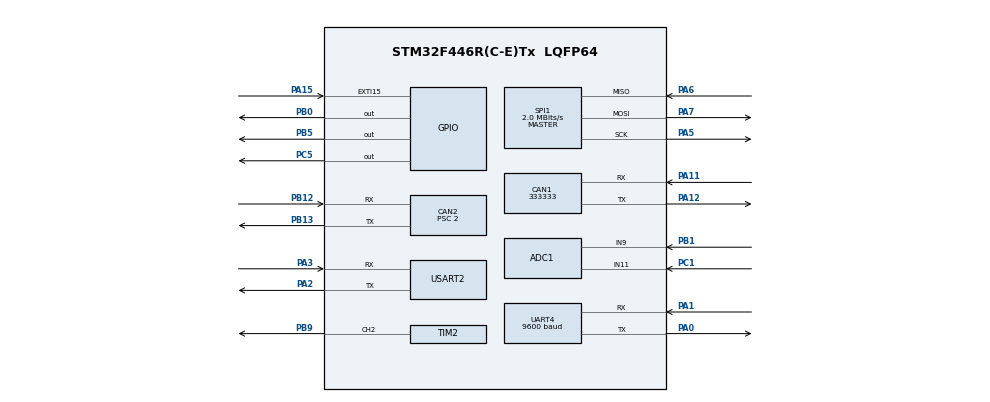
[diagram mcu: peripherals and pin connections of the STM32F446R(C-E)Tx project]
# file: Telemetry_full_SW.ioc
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Mcu.Family=STM32F4
Dma.SPI1_TX.1.Priority=DMA_PRIORITY_LOW
PA6.Mode=Full_Duplex_Master
RCC.CortexFreq_Value=16000000
FATFS._USE_LFN=1
NVIC.CAN2_RX0_IRQn=true\:0\:0\:false\:false\:true\:true\:true
SPI1.VirtualType=VM_MASTER
ADC1.ContinuousConvMode=ENABLE
Dma.SPI1_TX.1.FIFOMode=DMA_FIFOMODE_DISABLE
CAN2.CalculateTimeBit=2000.00
NVIC.DMA1_Stream2_IRQn=true\:0\:0\:false\:false\:true\:false\:true
Dma.SPI1_TX.1.PeriphInc=DMA_PINC_DISABLE
PA11.Mode=CAN_Activate
PA11.GPIO_PuPd=GPIO_PULLUP
TIM2.Channel-PWM\ Generation2\ CH2=TIM_CHANNEL_2
Dma.ADC1.3.PeriphDataAlignment=DMA_PDATAALIGN_WORD
PB13.Signal=CAN2_TX
ProjectManager.StackSize=0x400
Dma.ADC1.3.MemInc=DMA_MINC_ENABLE
PA12.Signal=CAN1_TX
SPI1.CLKPolarity=SPI_POLARITY_HIGH
Dma.SPI1_RX.0.Direction=DMA_PERIPH_TO_MEMORY
SPI1.Direction=SPI_DIRECTION_2LINES
UART4.BaudRate=9600
Dma.ADC1.3.PeriphInc=DMA_PINC_DISABLE
Dma.UART4_RX.2.MemDataAlignment=DMA_MDATAALIGN_BYTE
SPI1.CalculateBaudRate=2.0 MBits/s
NVIC.DMA2_Stream0_IRQn=true\:0\:0\:false\:false\:true\:false\:true
NVIC.EXTI15_10_IRQn=true\:0\:0\:false\:false\:true\:true\:true
Dma.SPI1_TX.1.PeriphDataAlignment=DMA_PDATAALIGN_BYTE
ADC1.Channel-0\#ChannelRegularConversion=ADC_CHANNEL_9
ADC1.ScanConvMode=ENABLE
PB3.Mode=Trace_Asynchronous_SW
Dma.ADC1.3.Instance=DMA2_Stream4
Dma.SPI1_RX.0.PeriphInc=DMA_PINC_DISABLE
Dma.SPI1_TX.1.Mode=DMA_NORMAL
PA14.Mode=Trace_Asynchronous_SW
Dma.ADC1.3.Mode=DMA_CIRCULAR
CAN2.Prescaler=2
Dma.UART4_RX.2.Direction=DMA_PERIPH_TO_MEMORY
ADC1.SamplingTime-0\#ChannelRegularConversion=ADC_SAMPLETIME_480CYCLES
Dma.UART4_RX.2.Instance=DMA1_Stream2
PB9.Signal=S_TIM2_CH2
Mcu.Package=LQFP64
TIM2.Prescaler=900-1
PA6.Signal=SPI1_MISO
PB1.Signal=ADCx_IN9
PB12.Mode=CAN_Activate
CAN2.BS1=CAN_BS1_13TQ
CAN2.BS2=CAN_BS2_2TQ
USART2.VirtualMode=VM_ASYNC
PA15.Signal=GPXTI15
Dma.UART4_RX.2.PeriphDataAlignment=DMA_PDATAALIGN_BYTE
SH.ADCx_IN9.0=ADC1_IN9,IN9
Dma.UART4_RX.2.FIFOMode=DMA_FIFOMODE_DISABLE
Dma.Request2=UART4_RX
Dma.Request1=SPI1_TX
Dma.Request3=ADC1
PC5.Signal=GPIO_Output
PB13.Mode=CAN_Activate
PA12.GPIO_PuPd=GPIO_PULLUP
Dma.Request0=SPI1_RX
SPI1.BaudRatePrescaler=SPI_BAUDRATEPRESCALER_8
CAN1.CalculateTimeBit=3000.00
Dma.SPI1_TX.1.Instance=DMA2_Stream3
PA3.Signal=USART2_RX
CAN1.CalculateTimeQuantum=1000.0
PA5.Mode=Full_Duplex_Master
CAN2.CalculateBaudRate=500000
Dma.SPI1_TX.1.MemInc=DMA_MINC_ENABLE
ADC1.Rank-0\#ChannelRegularConversion=1
PA7.Mode=Full_Duplex_Master
CAN1.CalculateBaudRate=333333
Dma.ADC1.3.Priority=DMA_PRIORITY_LOW
Dma.UART4_RX.2.Priority=DMA_PRIORITY_LOW
SPI1.CLKPhase=SPI_PHASE_2EDGE
Dma.SPI1_RX.0.Mode=DMA_NORMAL
UART4.VirtualMode=Asynchronous
Dma.SPI1_TX.1.Direction=DMA_MEMORY_TO_PERIPH
Dma.ADC1.3.FIFOMode=DMA_FIFOMODE_DISABLE
Dma.UART4_RX.2.PeriphInc=DMA_PINC_DISABLE
Dma.UART4_RX.2.MemInc=DMA_MINC_ENABLE
PA0-WKUP.Signal=UART4_TX
PA0-WKUP.Mode=Asynchronous
Dma.SPI1_RX.0.FIFOMode=DMA_FIFOMODE_DISABLE
PA13.Signal=SYS_JTMS-SWDIO
PA3.Mode=Asynchronous
SH.S_TIM2_CH2.0=TIM2_CH2,PWM Generation2 CH2
Dma.SPI1_TX.1.MemDataAlignment=DMA_MDATAALIGN_BYTE
ProjectManager.TargetToolchain=STM32CubeIDE
ADC1.Channel-1\#ChannelRegularConversion=ADC_CHANNEL_11
RCC.USBFreq_Value=96000000
NVIC.DMA2_Stream3_IRQn=true\:0\:0\:false\:false\:true\:false\:true
PA1.Signal=UART4_RX
VP_FATFS_VS_Generic.Mode=User_defined
PA5.Signal=SPI1_SCK
Dma.ADC1.3.MemDataAlignment=DMA_MDATAALIGN_WORD
Dma.ADC1.3.Direction=DMA_PERIPH_TO_MEMORY
Dma.UART4_RX.2.Mode=DMA_CIRCULAR
board=custom
RCC.VCOOutputFreq_Value=192000000
PA1.Mode=Asynchronous
SH.ADCx_IN11.0=ADC1_IN11,IN11
SPI1.Mode=SPI_MODE_MASTER
Dma.SPI1_RX.0.Instance=DMA2_Stream0
Dma.SPI1_RX.0.PeriphDataAlignment=DMA_PDATAALIGN_BYTE
CAN2.CalculateTimeQuantum=125.0
Dma.SPI1_RX.0.MemDataAlignment=DMA_MDATAALIGN_BYTE
ADC1.DMAContinuousRequests=ENABLE
TIM2.Period=1000-1
ADC1.NbrOfConversion=2
PA13.Mode=Trace_Asynchronous_SW
Mcu.Name=STM32F446R(C-E)Tx
Dma.SPI1_RX.0.MemInc=DMA_MINC_ENABLE
NVIC.DMA2_Stream4_IRQn=true\:0\:0\:false\:false\:true\:false\:true
PA2.Signal=USART2_TX
FATFS._MAX_SS=4096
ADC1.ExternalTrigConv=ADC_SOFTWARE_START
PB3.Signal=SYS_JTDO-SWO
ADC1.SamplingTime-1\#ChannelRegularConversion=ADC_SAMPLETIME_480CYCLES
PB5.Signal=GPIO_Output
ADC1.master=1
PA12.Mode=CAN_Activate
ADC1.Rank-1\#ChannelRegularConversion=2
PA11.Signal=CAN1_RX
PA14.Signal=SYS_JTCK-SWCLK
ProjectManager.HeapSize=0x200
Dma.SPI1_RX.0.Priority=DMA_PRIORITY_LOW
NVIC.PriorityGroup=NVIC_PRIORITYGROUP_4
ADC1.NbrOfConversionFlag=1
PA2.Mode=Asynchronous
PB0.Signal=GPIO_Output
PC1.Signal=ADCx_IN11
PB12.Signal=CAN2_RX
PA7.Signal=SPI1_MOSI

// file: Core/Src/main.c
/* USER CODE BEGIN Header */
/**
  ******************************************************************************
  * @file           : main.c
  * @brief          : Main program body
  ******************************************************************************
  * @attention
  *
  * <h2><center>&copy; Copyright (c) 2021 STMicroelectronics.
  * All rights reserved.</center></h2>
  *
  * This software component is licensed by ST under BSD 3-Clause license,
  * the "License"; You may not use this file except in compliance with the
  * License. You may obtain a copy of the License at:
  *                        opensource.org/licenses/BSD-3-Clause
  *
  ******************************************************************************
  */
/* USER CODE END Header */
#include "main.h"
#include "fatfs.h"

/* USER CODE BEGIN Includes */
#include "stdio.h"
#include "stdlib.h"
#include "string.h"
#include "ICM20948.h"
#include "fatfs_sd.h"
/* USER CODE END Includes */

/* USER CODE BEGIN PD */
#define V_ADC 3.3/4096

#define GPS_Enable 1;
#define GPS_Disables 0;
#define ICM_Enable 1;
#define ICM_Disable 0;
#define POT_Enable 1;
#define POT_Disable 0;
#define Servo_Enable 1;
#define Servo_Disable 0;

//#define DRCPATTISON 1
//#define CORYCLINE 2

/* USER CODE END PD */

ADC_HandleTypeDef hadc1;
DMA_HandleTypeDef hdma_adc1;

CAN_HandleTypeDef hcan1;
CAN_HandleTypeDef hcan2;

SPI_HandleTypeDef hspi1;
DMA_HandleTypeDef hdma_spi1_rx;
DMA_HandleTypeDef hdma_spi1_tx;

TIM_HandleTypeDef htim2;

UART_HandleTypeDef huart4;
UART_HandleTypeDef huart2;
DMA_HandleTypeDef hdma_uart4_rx;

/* USER CODE BEGIN PV */
int  GPS_ready = 0;
int start_race = 0;
uint32_t GPS_BR=9600;
int time_count=0;
int time_total=0;
// SD CARD RELATED ///////////////////////////////////////////////////////////////////////////////////////////
FATFS fs;  // file system
FIL fil; // File
FILINFO fno;
FRESULT fresult;  // result
UINT br, bw;  // File read/write count

/**** capacity related *****/
FATFS *pfs;
DWORD fre_clust;
uint32_t total, free_space;

#define BUFFER_SIZE 128
char buffer[BUFFER_SIZE];  // to store strings..
//////////////////////////////////////////////////////////////////////////////////////////////////////////////

// CAN ///////////////////////////////////////////////////////////////////////////////////////////////////////
CAN_TxHeaderTypeDef pTxHeader;
uint32_t pTxMailbox;

CAN_RxHeaderTypeDef pRxHeader;
uint32_t pRxMailbox;

CAN_FilterTypeDef CAN_filter1;
//////////////////////////////////////////////////////////////////////////////////////////////////////////////

//CAN UNION

union CAN_M{
	int i[2];
	float f[2];
	uint8_t bytes[8];
} can_m;

union CAN_M tx_union;
union CAN_M rx_union;
uint8_t can_m_received=0;

#define Especial	50  // Total Voltage :: V1t :: P2t :: P3t :: P4t :: P5t :: Max Temp :: Pack Ref ::
#define PACK_V_1	51  // All 6 voltages
#define PACK_V_2	52  // All 6 voltages
#define PACK_V_3	53  // All 6 voltages
#define PACK_V_4	54  // All 6 voltages
#define PACK_V_5	55  // All 6 voltages
#define PACK_1_2	121 // All 4 temperatures
#define PACK_3_4	122 // All 4 temperatures
#define PACK_5		123 // All 4 temperatures
#define Tele_SR		90
/* USER CODE END PV */

void SystemClock_Config(void);
static void MX_GPIO_Init(void);
static void MX_DMA_Init(void);
static void MX_CAN1_Init(void);
static void MX_CAN2_Init(void);
static void MX_SPI1_Init(void);
static void MX_ADC1_Init(void);
static void MX_TIM2_Init(void);
static void MX_UART4_Init(void);
static void MX_USART2_UART_Init(void);

int _write(int32_t file, uint8_t *ptr, int32_t len)
{
    for (int i = 0; i < len; i++)
    {
        ITM_SendChar(*ptr++);
    }
    return len;
}

int main(void)
{
  /* USER CODE BEGIN 1 */
	char *token, *string;
	uint8_t buff[1200];
	char buffStr[600];
	char nmeaSnt[80];
	uint8_t intSum;
	char hex[2];
	int i,j, file=0;

	////////////////////////////////////////////////////////////////////////////////////

	char *rawSum;
	char smNmbr[3];

	uint8_t cnt = 0;

	//////////////////////////////////////////////////////////////////////////////////////////////////
	/*char daytime[6];
	char valid;
	char lat[9];
	char hemLat;
	char lon[10];
	char hemLon;
	char speed[4];
	char track[6];
	char date[6];
	char variation[5];
	char orientation;

	char *daytime_raw;
	char *valid_raw;
	char *lat_raw;
	char *hemLat_raw;
	char *lon_raw;
	char *hemLon_raw;
	char *speed_raw;
	char *track_raw;
	char *date_raw;
	char *variation_raw;
	char *orientation_raw;*/
//////////////////////////////////////////////////// EXTRA ME

	uint8_t valid_5,valid_4,valid_3,valid_2,valid_1,valid_t;
	uint8_t pack[6][6], tempack[5][4], templacas[3];
	/////////////////////////////////////////

  /* USER CODE END 1 */

  /* MCU Configuration--------------------------------------------------------*/

  /* Reset of all peripherals, Initializes the Flash interface and the Systick. */
  HAL_Init();

  /* Configure the system clock */
  SystemClock_Config();

  /* Initialize all configured peripherals */
  MX_GPIO_Init();
  MX_DMA_Init();
  MX_CAN1_Init();
  MX_CAN2_Init();
  MX_SPI1_Init();
  MX_ADC1_Init();
  MX_TIM2_Init();
  MX_UART4_Init();
  MX_USART2_UART_Init();
  MX_FATFS_Init();
  /* USER CODE BEGIN 2 */

	uint32_t value[2];
	uint32_t suspension1,suspension2;
	HAL_StatusTypeDef manager;

	// Inicializar UART4 e o ADC /////////////
	//HAL_UART_Receive_DMA(&huart4, buff, 1200);
	//HAL_Delay(100); //necessario?
	//HAL_ADC_Start_DMA(&hadc1, value, 2); //sem pot's
	//////////////////////////////////////////

  /* USER CODE END 2 */

  /* Infinite loop */
  /* USER CODE BEGIN WHILE */

  	// CAN Initiations ///////////////////////////////////////////////////////////////////////////////////////
  	HAL_CAN_Start(&hcan2);
  	HAL_CAN_ActivateNotification(&hcan2, CAN_IT_RX_FIFO0_MSG_PENDING);
  	//HAL_CAN_DeactivateNotification(&hcan2, CAN_IT_RX_FIFO0_MSG_PENDING);
	CAN_filter1.FilterBank = 14;
	CAN_filter1.FilterMode = CAN_FILTERMODE_IDMASK;
	CAN_filter1.FilterScale = CAN_FILTERSCALE_32BIT;
	CAN_filter1.FilterIdHigh = 0x0000;
	CAN_filter1.FilterIdLow = 0x0000; //00FF
	CAN_filter1.FilterMaskIdHigh = 0x0000; //FFFF
	CAN_filter1.FilterMaskIdLow = 0x0000; //FF00
	CAN_filter1.FilterFIFOAssignment = CAN_RX_FIFO0;
	CAN_filter1.FilterActivation = ENABLE;
	CAN_filter1.SlaveStartFilterBank = 14;

	HAL_CAN_ConfigFilter(&hcan2, &CAN_filter1);

	// USED FOR PUTTING BAUDRATE AT 115200 /////
	/*uint8_t *set = "$PMTK251,115200*1F\r\n";
	manager=HAL_UART_Transmit(&huart4, set, 21, 1000);
	if(manager != HAL_OK)
	{
		printf("Error 1: Changing GPS baudrate.\r\n");
		while(1){

		}
	}*/
	//GPS_BR=115200;
	//HAL_UART_DeInit(&huart4);
	//////////////MX_UART4_Init();
	//HAL_UART_Init(&huart4);
	//HAL_UART_Receive_DMA(&huart4, buff, 1200);
	////////////////////////////////////////////

	// ICM INITIALIZATIONS ///////////////////////////////////////////////////////////////////////////////////
#if defined(ICM_Enable)
	HAL_GPIO_WritePin(GPIOC, GPIO_PIN_5, SET); // SDCard
	HAL_GPIO_WritePin(GPIOB, GPIO_PIN_0, SET); // IMU
	ICM_PowerOn();
	HAL_Delay(10); // Ainda falta ver se estes valores do ICM são normais antes de estar a ler.
#endif
	//////////////////////////////////////////////////////////////////////////////////////////////////////////

	//SD CARD INIT ///////////////////////////////////////////////////////////////////////////////////////////
	fresult = f_mount(&fs, "/", 1);
	if (fresult != FR_OK)
	{

		printf("Error 2: Mounting SDCARD.\r\n");
		while(1)
		{

		}
	}

	f_getfree("", &fre_clust, &pfs);
	total = (uint32_t)((pfs->n_fatent - 2) * pfs->csize * 0.5);
	printf("SD CARD Total Size: \t%lu\n",total);
	free_space = (uint32_t)(fre_clust * pfs->csize * 0.5);
	printf("SD CARD Free Space: \t%lu\n\n",free_space);

	if(free_space < total/8)
	{
		printf("Error 3: 1/8 left. \r\n");
		while(1){

		}
	}

	/*while(1){

	}*/
	//////////////////////////////////////////////////////////////////////////////////////////////////////////
	int var=0;
	while(1)
	{
		pTxHeader.DLC=1;
		pTxHeader.IDE=CAN_ID_STD;
		pTxHeader.RTR=CAN_RTR_DATA;
		pTxHeader.StdId=Especial;
		tx_union.bytes[0]=224;
		tx_union.bytes[1]=250;
		tx_union.bytes[2]=260;
		tx_union.bytes[3]=180;
		tx_union.bytes[4]=165;
		tx_union.bytes[5]=165;
		HAL_CAN_AddTxMessage(&hcan2, &pTxHeader, &tx_union, &pTxMailbox);
		while(1)
		{
			for (var=0; var < 1000; var++ )
			{

			}
			break;
		}

	}
    /* USER CODE END WHILE */

    /* USER CODE BEGIN 3 */
	while(1)
	{
		can_m_received=1;
		if(can_m_received==1)
		{
			if(pRxHeader.StdId==Tele_SR)
			{
				if(rx_union.bytes[0]==0)
				{
					start_race=1;
					tx_union.bytes[0]=1;
				}
				else if(rx_union.bytes[0]==1)
				{
					start_race=0;
					tx_union.bytes[0]=0;
				}
					pTxHeader.DLC=1;
					pTxHeader.IDE=CAN_ID_STD;
					pTxHeader.RTR=CAN_RTR_DATA;
					pTxHeader.StdId=Tele_SR;
					HAL_CAN_AddTxMessage(&hcan2, &pTxHeader, &tx_union, &pTxMailbox);
			}

			//tensões para os packs de bateria
			for(i=50;i<56;i++)
			{
				if(pRxHeader.StdId==i && start_race==1){
					pack[i-50][0]=rx_union.bytes[0];
					pack[i-50][1]=rx_union.bytes[1];
					pack[i-50][2]=rx_union.bytes[2];
					pack[i-50][3]=rx_union.bytes[3];
					pack[i-50][4]=rx_union.bytes[4];
					pack[i-50][5]=rx_union.bytes[5];
					//printf("p1 %d  p2 %d  p3 %d  p4 %d  p5 %d pt %d\n\r",pack[i-50][0],pack[i-50][1],pack[i-50][2],pack[i-50][3],pack[i-50][4],pack[i-50][5]);
				}
			}
			pRxHeader.StdId=121;
			start_race=1;
			//temperatura para o primeiro e segundo pack de baterias
			if(pRxHeader.StdId==121 && start_race==1){
				tempack[0][0]/rx_union.bytes[0];
				tempack[0][1]=rx_union.bytes[1];
				tempack[0][2]=rx_union.bytes[2];
				tempack[0][3]=rx_union.bytes[3];
				tempack[1][0]=rx_union.bytes[4];
				tempack[1][1]=rx_union.bytes[5];
				tempack[1][2]=rx_union.bytes[6];
				tempack[1][3]=rx_union.bytes[7];
				//printf("p1c1 %d  p1c2 %d  p1c3 %d  p1c4 %d  p2c1 %d p2c2 %d p2c3 %d p2c4 %d \n\r",tempack[0][0],tempack[0][1],tempack[0][2],tempack[0][3],tempack[1][0],tempack[1][1],tempack[1][2], tempack[1][3]);
			}
			//temperatura para o terceiro e quarto pack de baterias
			if(pRxHeader.StdId==121 && start_race==1){
				tempack[2][0]=rx_union.bytes[0];
				tempack[2][1]=rx_union.bytes[1];
				tempack[2][2]=rx_union.bytes[2];
				tempack[2][3]=rx_union.bytes[3];
				tempack[3][0]=rx_union.bytes[4];
				tempack[3][1]=rx_union.bytes[5];
				tempack[3][2]=rx_union.bytes[6];
				tempack[3][3]=rx_union.bytes[7];
				//printf("p1 %d  p2 %d  p3 %d  p4 %d  p5 %d pt %d\n\r",pack[i-50][0],pack[i-50][1],pack[i-50][2],pack[i-50][3],pack[i-50][4],pack[i-50][5]);
			}
			//temperatura para o quinto pack de baterias
			if(pRxHeader.StdId==121 && start_race==1){
				tempack[4][0]=rx_union.bytes[0];
				tempack[4][1]=rx_union.bytes[1];
				tempack[4][2]=rx_union.bytes[2];
				tempack[4][3]=rx_union.bytes[3];
				//printf("p1 %d  p2 %d  p3 %d  p4 %d  p5 %d pt %d\n\r",pack[i-50][0],pack[i-50][1],pack[i-50][2],pack[i-50][3],pack[i-50][4],pack[i-50][5]);
			}
			//temperatura para as placas
			for(i=131;i<134;i++)
			{
				if(pRxHeader.StdId==i && start_race==1)
				{
					templacas[i-131]=rx_union.bytes[0];
				}
			}

			can_m_received=0;
		}

		HAL_CAN_ActivateNotification(&hcan2, CAN_IT_RX_FIFO0_MSG_PENDING);

			if(can_m_received==1)
			{
				if(pRxHeader.StdId==Tele_SR)
				{
					if(rx_union.bytes[0]==0)
					{
						start_race=1;
						tx_union.bytes[0]=1;
					}
					else if(rx_union.bytes[0]==1)
					{
						start_race=0;
						tx_union.bytes[0]=0;
					}
					can_m_received=0;
					pTxHeader.DLC=1;
					pTxHeader.IDE=CAN_ID_STD;
					pTxHeader.RTR=CAN_RTR_DATA;
					pTxHeader.StdId=Tele_SR;

				HAL_CAN_AddTxMessage(&hcan2, &pTxHeader, &tx_union, &pTxMailbox);
				}
			}

		if(start_race==1)
		{
			valid_t=1;
			if(time_count>=10 && valid_t==1)
			{

				//GPS READINGS ///////////////////////////////////////////////////////////////////////////
#if defined(GPS_Enable)
				while(GPS_ready!=1)
				{
					GPS_ready=1;
				}

				memset(buffStr, 0, 600);

				sprintf(buffStr, "%s", buff);

				string = strdup(buffStr);

				while ((token = strsep(&string, "\n")) != NULL)
				{

					memset(nmeaSnt, 0, 80);

					sprintf(nmeaSnt, "%s", token);

					printf("%s", nmeaSnt);

					// selecting only $GNGLL sentences, combined GPS and GLONASS
					// on my GPS sensor this good NMEA sentence is always 50 characters
					if ( strstr(nmeaSnt, "$GPRMC") != 0 && strlen(nmeaSnt) > 49 && strstr(nmeaSnt, "*") != 0)
					{

						rawSum = strstr(nmeaSnt, "*");

						memcpy(smNmbr, &rawSum[1], 2);

						smNmbr[2] = '\0';

						intSum = nmea0183_checksum(nmeaSnt);

						// "%X" unsigned hexadecimal integer (capital letters)
						sprintf(hex, "%X", intSum);

						// checksum data verification, if OK, then we can really trust
						// the data in the the NMEA sentence
						int empties[12];
						memset(empties, 0, sizeof(empties));
						if (strstr(smNmbr, hex) != NULL)
						{
							int i=0, j=0, empties_n=0;
							while(nmeaSnt[i]!='\0')
							{
								if(nmeaSnt[i]==',' && nmeaSnt[i+1]==',')
								{
									empties_n++;
									empties[j]=empties_n;
									j++;
								}
								else if(nmeaSnt[i]==',' && nmeaSnt[i+1]!=',')
								{
									empties_n++;
								}
								else if(nmeaSnt[i]==',' && nmeaSnt[i+1]=='*')
								{
									empties_n++;
									empties[j]=empties_n;
									j++;
								}

								i++;
							}
							i=0;
							//printf("STRING:%s\n",nmeaSnt);

							// we want to send the string "nmeaSnt"
							// splitting the good NMEA sentence into the tokens by the comma delimiter
							/*for (char *pV = strtok(nmeaSnt, ","); pV != NULL; pV = strtok(NULL, ",")) {
								printf("STRING:%s\n",pV);
								printf("CNT %d and empties[i] %d\n\r",cnt,empties[i]);
								fflush(stdout);
								while(cnt==empties[i])
								{
									i++;
									cnt++;
								}
								switch (cnt) {

									case 1:
										daytime_raw=strdup(pV);
										printf("1: %s\n\r",daytime_raw);
										break;
									case 2:
										valid_raw=strdup(pV);
										printf("2: %s\n\r",valid_raw);
										if(strcmp(valid_raw,"V"))
										{
											GPS_retry=1;
											pV=NULL;
										}
										else
										{
											GPS_retry=0;
										}
										break;
									case 3:
										lat_raw=strdup(pV);
										printf("3: %s\n\r",lat_raw);
										break;
									case 4:
										hemLat_raw=strdup(pV);
										printf("4: %s\n\r",hemLat_raw);
										break;
									case 5:
										lon_raw=strdup(pV);
										printf("5: %s\n\r",lon_raw);
										break;
									case 6:
										hemLon_raw=strdup(pV);
										printf("6: %s\n\r",hemLon_raw);
										break;
									case 7:
										speed_raw=strdup(pV);
										printf("7: %s\n\r",speed_raw);
										break;
									case 8:
										track_raw=strdup(pV);
										printf("8: %s\n\r",track_raw);
										break;
									case 9:
										date_raw=strdup(pV);
										printf("9: %s\n\r",date_raw);
										break;
									case 10:
										variation_raw=strdup(pV);
										printf("10: %s\n\r",variation_raw);
										break;
									case 11:
										orientation_raw=strdup(pV);
										printf("11: %s\n\r",orientation_raw);
										break;
								}
								fflush(stdout);
								cnt++;
							}  // end for()*/
							//cnt=0;
						} // end of of the checksum data verification

						//send the data to spi here

					} // end of $GNGLL sentences selection
					/*
					if (strstr(nmeaSnt, "$GPVTG") != 0 && strlen(nmeaSnt) > 29 && strstr(nmeaSnt, "*") != 0)
					{

							rawSum = strstr(nmeaSnt, "*");

							memcpy(smNmbr, &rawSum[1], 2);

							smNmbr[2] = '\0';

							intSum = nmea0183_checksum(nmeaSnt);

							// "%X" unsigned hexadecimal integer (capital letters)
							sprintf(hex, "%X", intSum);

							// checksum data verification, if OK, then we can really trust
							// the data in the the NMEA sentence
							int empties[12];
							memset(empties, 0, sizeof(empties));
							if (strstr(smNmbr, hex) != NULL) {
								int i=0, j=0, empties_n=0;

								while(nmeaSnt[i]!='\0')
								{
									if(nmeaSnt[i]==',' && nmeaSnt[i+1]==',')
									{
										empties_n++;
										empties[j]=empties_n;
										j++;
									}
									else if(nmeaSnt[i]==',' && nmeaSnt[i+1]!=',')
									{
										empties_n++;
									}
									else if(nmeaSnt[i]==',' && nmeaSnt[i+1]=='*')
									{
										empties_n++;
										empties[j]=empties_n;
										j++;
									}

										i++;
									}
									i=0;
							}
							//send the data to spi here
							//printf("STRING:%s\n",nmeaSnt);

					}// end of $GNVTG sentences selection*/
				}
			}
#endif
				// END GPS READINGS ///////////////////////////////////////////////////////////////////////

				// SUSPENSION READINGS ////////////////////////////////////////////////////////////////////
#if defined(POT_Enable)
				/*suspension1=value[0];
				suspension2=value[1];*/
#endif
				// END SUSPENSION READINGS ////////////////////////////////////////////////////////////////

				// START ICM READINGS /////////////////////////////////////////////////////////////////////
#if defined(ICM_Enable)

#if defined(DRCPATTISON)
				uint8_t var;
				ICM_ReadOneByte(INT_STATUS_1,&var);
				if (var & 0x01)
				{
					int16_t accelCount[3], ax, ay, az, aRes;
				    readAccelData(accelCount);  // Read the x/y/z adc values

				    // Now we'll calculate the accleration value into actual g's
				    // This depends on scale being set
				    ax = (float)accelCount[0] * aRes; // - myIMU.accelBias[0];
				    ay = (float)accelCount[1] * aRes; // - myIMU.accelBias[1];
				    az = (float)accelCount[2] * aRes; // - myIMU.accelBias[2];

				    int16_t gyroCount[3], gx, gy, gz, gRes;
				    readGyroData(gyroCount);  // Read the x/y/z adc values

				    // Calculate the gyro value into actual degrees per second
				    // This depends on scale being set
				    gx = (float)gyroCount[0] * gRes;
				    gy = (float)gyroCount[1] * gRes;
				    gz = (float)gyroCount[2] * gRes;

				    int16_t magCount[3], mx, my, mz, magBias[3], mRes;
				    readMagData(magCount);  // Read the x/y/z adc values

				    // Calculate the magnetometer values in milliGauss
				    // Include factory calibration per data sheet and user environmental
				    // corrections
				    // Get actual magnetometer value, this depends on scale being set
				    mx = (float)magCount[0] * mRes - magBias[0];
				    my = (float)magCount[1] * mRes - magBias[1];
				    mz = (float)magCount[2] * mRes - magBias[2];
				  }
#elif defined(CORYCLINE)
				ICM_SelectBank(USER_BANK_0);
				HAL_Delay(10);

				// Obtain accelerometer and gyro data
				ICM_ReadAccelGyroData();

				// Obtain magnetometer data
				ICM_ReadMagData(mag_data);

				// Print raw, but joined, axis data values to screen
				printf(	"(Ax: %u | Ay: %u | Az: %u) \n\r (Gx: %u | Gy: %u | Gz: %u)\n\r"
						"(Mx: %i | My: %i | Mz: %i)\n\r",accel_data[0], accel_data[1], accel_data[2],
						gyro_data[0], gyro_data[1], gyro_data[2],mag_data[0], mag_data[1], mag_data[2]);
				fflush(stdout);
#endif
#endif
				// END ICM READINGS ///////////////////////////////////////////////////////////////////////

				// RECORD SDCARD //////////////////////////////////////////////////////////////////////////

				//tempo,temperaturas,tensão,gps
				HAL_GPIO_WritePin(GPIOC, GPIO_PIN_5, RESET); // SDCard
				HAL_GPIO_WritePin(GPIOB, GPIO_PIN_0, SET);

			    if(file==0){
			    	fresult = f_open(&fil, "file1.txt", FA_CREATE_ALWAYS | FA_WRITE);
			    	file=1;
			    }
			    else{
			    	fresult = f_open(&fil, "file1.txt", FA_OPEN_APPEND | FA_WRITE);
			    }

				clear_buffer();

				/* Writing text */
			    sprintf(buffer, "p1c1 %d  p1c2 %d  p1c3 %d  p1c4 %d  p2c1 %d p2c2 %d p2c3 %d p2c4 %d \n\r", tempack[0][0],tempack[0][1],tempack[0][2],tempack[0][3],tempack[1][0],tempack[1][1],tempack[1][2], tempack[1][3]);
				//sprintf(buffer, "%s \n\r", nmeaSnt);
			    fresult = f_write(&fil, buffer, strlen(buffer), &bw);

			    //printf("%s\r\n",buffer);

				if (fresult != FR_OK){
					printf("Error4: Could not write.\r\n");
				}

				/* Close file */
				fresult = f_close(&fil);

			  	if (fresult != FR_OK){
			  		printf("Error4: Could not close file.\r\n");
			  	}

			  	clear_buffer();

				//printf("%s\r\n",buffer);

			  	fresult = f_open(&fil, "file1.txt", FA_READ);

			  	f_read (&fil, buffer, f_size(&fil), &br);

			  	printf("%s\r\n", buffer);

			  	fresult = fclose(&fil);

			  	clear_buffer();

			  	HAL_GPIO_WritePin(GPIOC, GPIO_PIN_5, SET); // SDCard*/
				///////////////////////////////////////////////////////////////////////////////////////////
				time_count = 0;
		}
	}
}
  /* USER CODE END 3 */

void SystemClock_Config(void)
{
  RCC_OscInitTypeDef RCC_OscInitStruct = {0};
  RCC_ClkInitTypeDef RCC_ClkInitStruct = {0};

  /** Configure the main internal regulator output voltage
  */
  __HAL_RCC_PWR_CLK_ENABLE();
  __HAL_PWR_VOLTAGESCALING_CONFIG(PWR_REGULATOR_VOLTAGE_SCALE3);
  /** Initializes the RCC Oscillators according to the specified parameters
  * in the RCC_OscInitTypeDef structure.
  */
  RCC_OscInitStruct.OscillatorType = RCC_OSCILLATORTYPE_HSI;
  RCC_OscInitStruct.HSIState = RCC_HSI_ON;
  RCC_OscInitStruct.HSICalibrationValue = RCC_HSICALIBRATION_DEFAULT;
  RCC_OscInitStruct.PLL.PLLState = RCC_PLL_NONE;
  if (HAL_RCC_OscConfig(&RCC_OscInitStruct) != HAL_OK)
  {
    Error_Handler();
  }
  /** Initializes the CPU, AHB and APB buses clocks
  */
  RCC_ClkInitStruct.ClockType = RCC_CLOCKTYPE_HCLK|RCC_CLOCKTYPE_SYSCLK
                              |RCC_CLOCKTYPE_PCLK1|RCC_CLOCKTYPE_PCLK2;
  RCC_ClkInitStruct.SYSCLKSource = RCC_SYSCLKSOURCE_HSI;
  RCC_ClkInitStruct.AHBCLKDivider = RCC_SYSCLK_DIV1;
  RCC_ClkInitStruct.APB1CLKDivider = RCC_HCLK_DIV1;
  RCC_ClkInitStruct.APB2CLKDivider = RCC_HCLK_DIV1;

  if (HAL_RCC_ClockConfig(&RCC_ClkInitStruct, FLASH_LATENCY_0) != HAL_OK)
  {
    Error_Handler();
  }
}

static void MX_ADC1_Init(void)
{

  ADC_ChannelConfTypeDef sConfig = {0};

  /** Configure the global features of the ADC (Clock, Resolution, Data Alignment and number of conversion)
  */
  hadc1.Instance = ADC1;
  hadc1.Init.ClockPrescaler = ADC_CLOCK_SYNC_PCLK_DIV2;
  hadc1.Init.Resolution = ADC_RESOLUTION_12B;
  hadc1.Init.ScanConvMode = ENABLE;
  hadc1.Init.ContinuousConvMode = ENABLE;
  hadc1.Init.DiscontinuousConvMode = DISABLE;
  hadc1.Init.ExternalTrigConvEdge = ADC_EXTERNALTRIGCONVEDGE_NONE;
  hadc1.Init.ExternalTrigConv = ADC_SOFTWARE_START;
  hadc1.Init.DataAlign = ADC_DATAALIGN_RIGHT;
  hadc1.Init.NbrOfConversion = 2;
  hadc1.Init.DMAContinuousRequests = ENABLE;
  hadc1.Init.EOCSelection = ADC_EOC_SINGLE_CONV;
  if (HAL_ADC_Init(&hadc1) != HAL_OK)
  {
    Error_Handler();
  }
  /** Configure for the selected ADC regular channel its corresponding rank in the sequencer and its sample time.
  */
  sConfig.Channel = ADC_CHANNEL_9;
  sConfig.Rank = 1;
  sConfig.SamplingTime = ADC_SAMPLETIME_480CYCLES;
  if (HAL_ADC_ConfigChannel(&hadc1, &sConfig) != HAL_OK)
  {
    Error_Handler();
  }
  /** Configure for the selected ADC regular channel its corresponding rank in the sequencer and its sample time.
  */
  sConfig.Channel = ADC_CHANNEL_11;
  sConfig.Rank = 2;
  if (HAL_ADC_ConfigChannel(&hadc1, &sConfig) != HAL_OK)
  {
    Error_Handler();
  }

}

static void MX_CAN1_Init(void)
{

  hcan1.Instance = CAN1;
  hcan1.Init.Prescaler = 16;
  hcan1.Init.Mode = CAN_MODE_NORMAL;
  hcan1.Init.SyncJumpWidth = CAN_SJW_1TQ;
  hcan1.Init.TimeSeg1 = CAN_BS1_1TQ;
  hcan1.Init.TimeSeg2 = CAN_BS2_1TQ;
  hcan1.Init.TimeTriggeredMode = DISABLE;
  hcan1.Init.AutoBusOff = DISABLE;
  hcan1.Init.AutoWakeUp = DISABLE;
  hcan1.Init.AutoRetransmission = DISABLE;
  hcan1.Init.ReceiveFifoLocked = DISABLE;
  hcan1.Init.TransmitFifoPriority = DISABLE;
  if (HAL_CAN_Init(&hcan1) != HAL_OK)
  {
    Error_Handler();
  }

}

static void MX_CAN2_Init(void)
{

  hcan2.Instance = CAN2;
  hcan2.Init.Prescaler = 2;
  hcan2.Init.Mode = CAN_MODE_NORMAL;
  hcan2.Init.SyncJumpWidth = CAN_SJW_1TQ;
  hcan2.Init.TimeSeg1 = CAN_BS1_13TQ;
  hcan2.Init.TimeSeg2 = CAN_BS2_2TQ;
  hcan2.Init.TimeTriggeredMode = DISABLE;
  hcan2.Init.AutoBusOff = DISABLE;
  hcan2.Init.AutoWakeUp = DISABLE;
  hcan2.Init.AutoRetransmission = DISABLE;
  hcan2.Init.ReceiveFifoLocked = DISABLE;
  hcan2.Init.TransmitFifoPriority = DISABLE;
  if (HAL_CAN_Init(&hcan2) != HAL_OK)
  {
    Error_Handler();
  }

}

static void MX_SPI1_Init(void)
{

  /* SPI1 parameter configuration*/
  hspi1.Instance = SPI1;
  hspi1.Init.Mode = SPI_MODE_MASTER;
  hspi1.Init.Direction = SPI_DIRECTION_2LINES;
  hspi1.Init.DataSize = SPI_DATASIZE_8BIT;
  hspi1.Init.CLKPolarity = SPI_POLARITY_HIGH;
  hspi1.Init.CLKPhase = SPI_PHASE_2EDGE;
  hspi1.Init.NSS = SPI_NSS_SOFT;
  hspi1.Init.BaudRatePrescaler = SPI_BAUDRATEPRESCALER_8;
  hspi1.Init.FirstBit = SPI_FIRSTBIT_MSB;
  hspi1.Init.TIMode = SPI_TIMODE_DISABLE;
  hspi1.Init.CRCCalculation = SPI_CRCCALCULATION_DISABLE;
  hspi1.Init.CRCPolynomial = 10;
  if (HAL_SPI_Init(&hspi1) != HAL_OK)
  {
    Error_Handler();
  }

}

static void MX_TIM2_Init(void)
{

  TIM_MasterConfigTypeDef sMasterConfig = {0};
  TIM_OC_InitTypeDef sConfigOC = {0};

  htim2.Instance = TIM2;
  htim2.Init.Prescaler = 900-1;
  htim2.Init.CounterMode = TIM_COUNTERMODE_UP;
  htim2.Init.Period = 1000-1;
  htim2.Init.ClockDivision = TIM_CLOCKDIVISION_DIV1;
  htim2.Init.AutoReloadPreload = TIM_AUTORELOAD_PRELOAD_DISABLE;
  if (HAL_TIM_PWM_Init(&htim2) != HAL_OK)
  {
    Error_Handler();
  }
  sMasterConfig.MasterOutputTrigger = TIM_TRGO_RESET;
  sMasterConfig.MasterSlaveMode = TIM_MASTERSLAVEMODE_DISABLE;
  if (HAL_TIMEx_MasterConfigSynchronization(&htim2, &sMasterConfig) != HAL_OK)
  {
    Error_Handler();
  }
  sConfigOC.OCMode = TIM_OCMODE_PWM1;
  sConfigOC.Pulse = 0;
  sConfigOC.OCPolarity = TIM_OCPOLARITY_HIGH;
  sConfigOC.OCFastMode = TIM_OCFAST_DISABLE;
  if (HAL_TIM_PWM_ConfigChannel(&htim2, &sConfigOC, TIM_CHANNEL_2) != HAL_OK)
  {
    Error_Handler();
  }
  HAL_TIM_MspPostInit(&htim2);

}

static void MX_UART4_Init(void)
{

  huart4.Instance = UART4;
  huart4.Init.BaudRate = 9600;
  huart4.Init.WordLength = UART_WORDLENGTH_8B;
  huart4.Init.StopBits = UART_STOPBITS_1;
  huart4.Init.Parity = UART_PARITY_NONE;
  huart4.Init.Mode = UART_MODE_TX_RX;
  huart4.Init.HwFlowCtl = UART_HWCONTROL_NONE;
  huart4.Init.OverSampling = UART_OVERSAMPLING_16;
  if (HAL_UART_Init(&huart4) != HAL_OK)
  {
    Error_Handler();
  }
  /* USER CODE BEGIN UART4_Init 2 */

  //Sempre que mexer no ficheiro .ioc lembrar-se de alterar Baudrate para huart4.Init.BaudRate = GPS_BR;

  /* USER CODE END UART4_Init 2 */

}

static void MX_USART2_UART_Init(void)
{

  huart2.Instance = USART2;
  huart2.Init.BaudRate = 115200;
  huart2.Init.WordLength = UART_WORDLENGTH_8B;
  huart2.Init.StopBits = UART_STOPBITS_1;
  huart2.Init.Parity = UART_PARITY_NONE;
  huart2.Init.Mode = UART_MODE_TX_RX;
  huart2.Init.HwFlowCtl = UART_HWCONTROL_NONE;
  huart2.Init.OverSampling = UART_OVERSAMPLING_16;
  if (HAL_UART_Init(&huart2) != HAL_OK)
  {
    Error_Handler();
  }

}

static void MX_DMA_Init(void)
{

  /* DMA controller clock enable */
  __HAL_RCC_DMA2_CLK_ENABLE();
  __HAL_RCC_DMA1_CLK_ENABLE();

  /* DMA interrupt init */
  /* DMA1_Stream2_IRQn interrupt configuration */
  HAL_NVIC_SetPriority(DMA1_Stream2_IRQn, 0, 0);
  HAL_NVIC_EnableIRQ(DMA1_Stream2_IRQn);
  /* DMA2_Stream0_IRQn interrupt configuration */
  HAL_NVIC_SetPriority(DMA2_Stream0_IRQn, 0, 0);
  HAL_NVIC_EnableIRQ(DMA2_Stream0_IRQn);
  /* DMA2_Stream3_IRQn interrupt configuration */
  HAL_NVIC_SetPriority(DMA2_Stream3_IRQn, 0, 0);
  HAL_NVIC_EnableIRQ(DMA2_Stream3_IRQn);
  /* DMA2_Stream4_IRQn interrupt configuration */
  HAL_NVIC_SetPriority(DMA2_Stream4_IRQn, 0, 0);
  HAL_NVIC_EnableIRQ(DMA2_Stream4_IRQn);

}

static void MX_GPIO_Init(void)
{
  GPIO_InitTypeDef GPIO_InitStruct = {0};

  /* GPIO Ports Clock Enable */
  __HAL_RCC_GPIOC_CLK_ENABLE();
  __HAL_RCC_GPIOA_CLK_ENABLE();
  __HAL_RCC_GPIOB_CLK_ENABLE();

  /*Configure GPIO pin Output Level */
  HAL_GPIO_WritePin(GPIOC, GPIO_PIN_5, GPIO_PIN_RESET);

  /*Configure GPIO pin Output Level */
  HAL_GPIO_WritePin(GPIOB, GPIO_PIN_0|GPIO_PIN_5, GPIO_PIN_RESET);

  /*Configure GPIO pin : PC5 */
  GPIO_InitStruct.Pin = GPIO_PIN_5;
  GPIO_InitStruct.Mode = GPIO_MODE_OUTPUT_PP;
  GPIO_InitStruct.Pull = GPIO_NOPULL;
  GPIO_InitStruct.Speed = GPIO_SPEED_FREQ_LOW;
  HAL_GPIO_Init(GPIOC, &GPIO_InitStruct);

  /*Configure GPIO pins : PB0 PB5 */
  GPIO_InitStruct.Pin = GPIO_PIN_0|GPIO_PIN_5;
  GPIO_InitStruct.Mode = GPIO_MODE_OUTPUT_PP;
  GPIO_InitStruct.Pull = GPIO_NOPULL;
  GPIO_InitStruct.Speed = GPIO_SPEED_FREQ_LOW;
  HAL_GPIO_Init(GPIOB, &GPIO_InitStruct);

  /*Configure GPIO pin : PA15 */
  GPIO_InitStruct.Pin = GPIO_PIN_15;
  GPIO_InitStruct.Mode = GPIO_MODE_IT_RISING;
  GPIO_InitStruct.Pull = GPIO_NOPULL;
  HAL_GPIO_Init(GPIOA, &GPIO_InitStruct);

  /* EXTI interrupt init*/
  HAL_NVIC_SetPriority(EXTI15_10_IRQn, 0, 0);
  HAL_NVIC_EnableIRQ(EXTI15_10_IRQn);

}

/* USER CODE BEGIN 4 */

int nmea0183_checksum(char *msg) {

	int checksum = 0;
	int j = 0;

	// the first $ sign and the last two bytes of original CRC + the * sign
	for (j = 1; j < strlen(msg) - 4; j++) {
		checksum = checksum ^ (unsigned) msg[j];
		//printf("byte: %c\n\r",msg[j]);
		fflush(stdout);
	}

	printf("CKSUM %d\n\r", checksum);
	return checksum;

}

void HAL_UART_RxHalfCpltCallback(UART_HandleTypeDef *huart) {

	GPS_ready = 1;

}

void HAL_UART_RxCpltCallback(UART_HandleTypeDef *huart) {

	GPS_ready = 0;

}

int bufsize (char *buf)
{
	int i=0;
	while (*buf++ != '\0') i++;
	return i;
}

void clear_buffer (void)
{
	for (int i=0; i<BUFFER_SIZE; i++) buffer[i] = '\0';
}

/* USER CODE END 4 */

void Error_Handler(void)
{
  __disable_irq();
  while (1)
  {
  }
}

/************************ (C) COPYRIGHT STMicroelectronics *****END OF FILE****/
